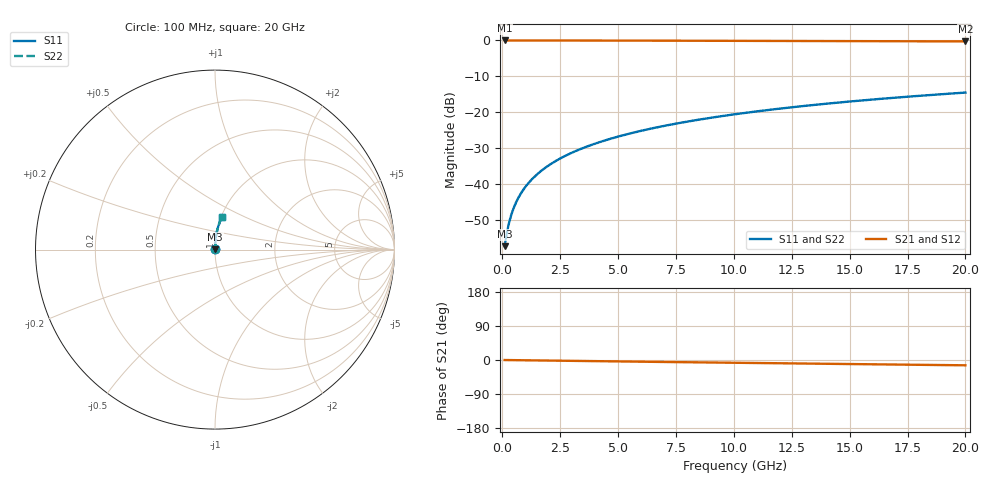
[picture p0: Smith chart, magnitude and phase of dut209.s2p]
! Touchstone file exported from HFSS 2024.1.0
!  File:  C:/UserFiles/LocalFiles/RDL_TSV_Batchsim/temp_RDL_top_209_1778687328.aedt
!  Generated:  11:51:26 PM May 13, 2026
!  Design:  RDL_top
!  Project:  temp_RDL_top_209_1778687328
!  Setup:  Setup1
!  Solution:  Sweep
! Variables:
!  dtsv = 10.80580581um
!  hbump = 3um
!  htsv = 60.39um
!  ldown = 100um
!  lrdl = 132.49um
!  p = 40
!  p1 = 55.67um
!  rhole = 1um
!  t = 450um
!  tdown = 3.915915916um
!  trdl = 3.73um
!  wdown = 15.38538539um
!  wrdl = 15.07um
# GHz S MA R 50.000000
! Terminal data exported
! Port[1] = Box2_T1
! Port[2] = Box2_T2
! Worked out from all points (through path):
!   200 points, 100 MHz to 20 GHz, reference 50 ohm
!   highest |S21| = -0.01 dB at 100 MHz (marker M1); lowest = -0.3 dB at 20 GHz (marker M2)
!   group delay of S21, straight-line fit = 1.93 ps
!   lowest |S11| = -57.2 dB at 100 MHz (marker M3), VSWR 1.00, Z = 50.1 + j0.0947 ohm
!   |S11| at or under -10 dB: start of sweep to end of sweep
!   |S22| runs from -57.2 to -14.5 dB; largest |S21 - S12| = 4.6e-15
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0.1  0.001382 43.2  0.999 -0.1  0.999 -0.1  0.001382 43.2
! Gamma 0 0 0 0
! Port Impedance 50 0 50 0
0.2  0.002145 61.3  0.999 -0.2  0.999 -0.2  0.002145 61.3
0.3  0.002999 69.4  0.9989 -0.2  0.9989 -0.2  0.002999 69.4
0.4  0.003876 73.8  0.9989 -0.3  0.9989 -0.3  0.003876 73.8
0.5  0.004761 76.6  0.9989 -0.4  0.9989 -0.4  0.004761 76.6
0.6  0.00565 78.5  0.9988 -0.5  0.9988 -0.5  0.00565 78.5
0.8  0.007437 81.0  0.9988 -0.6  0.9988 -0.6  0.007437 81.0
1.1  0.01013 83.2  0.9986 -0.8  0.9986 -0.8  0.01013 83.2
1.5  0.01375 84.7  0.9984 -1.2  0.9984 -1.2  0.01375 84.7
1.8  0.01648 85.4  0.9983 -1.4  0.9983 -1.4  0.01648 85.4
2.1  0.01922 85.9  0.9981 -1.6  0.9981 -1.6  0.01922 85.9
2.7  0.02471 86.5  0.9976 -2.1  0.9976 -2.1  0.02471 86.5
3.5  0.03209 86.8  0.9969 -2.7  0.9969 -2.7  0.03209 86.8
4.2  0.03859 86.8  0.9961 -3.2  0.9961 -3.2  0.03859 86.8
5  0.04607 86.8  0.9951 -3.8  0.9951 -3.8  0.04607 86.8
5.9  0.05455 86.5  0.9938 -4.4  0.9938 -4.4  0.05455 86.5
6.8  0.06308 86.2  0.9925 -5.1  0.9925 -5.1  0.06308 86.2
8.3  0.0774 85.5  0.9902 -6.1  0.9902 -6.1  0.0774 85.5
10.1  0.09467 84.5  0.9872 -7.4  0.9872 -7.4  0.09467 84.5
13.4  0.1263 82.3  0.9814 -9.6  0.9814 -9.6  0.1263 82.3
16.7  0.1576 80.1  0.9752 -11.8  0.9752 -11.8  0.1576 80.1
20  0.1884 77.8  0.9684 -14.0  0.9684 -14.0  0.1884 77.8
